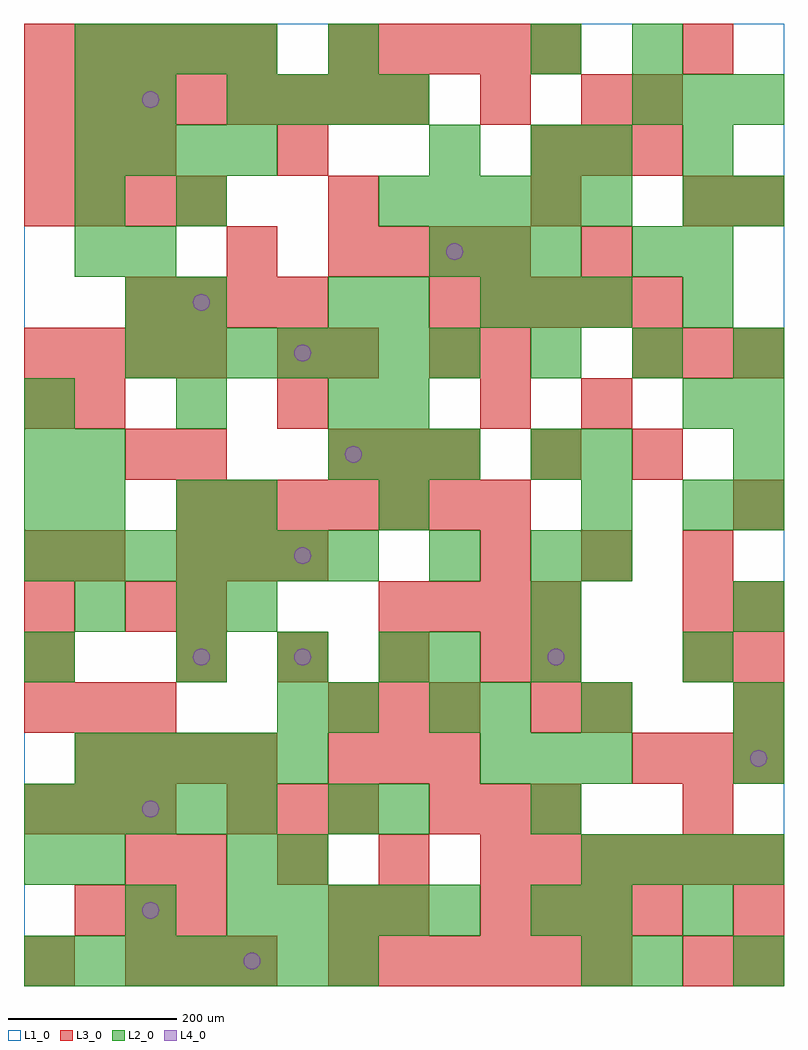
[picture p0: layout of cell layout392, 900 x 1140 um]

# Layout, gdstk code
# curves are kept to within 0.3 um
import gdstk
lib = gdstk.Library(unit=1e-6, precision=1e-09)
def R(c, l, rs):  # rectangles x0, y0, x1, y1
    for r in rs: c.add(gdstk.rectangle(r[:2], r[2:], *l))
def A(c, l, x, y, w, h, nx, ny, dx, dy):  # array of equal rectangles
    R(c, l, [(x+i*dx, y+j*dy, x+i*dx+w, y+j*dy+h) for i in range(nx) for j in range(ny)])
def P(c, l, *ps):  # polygons
    for p in ps: c.add(gdstk.Polygon(p, *l))
L1_0 = (1, 0)
L2_0 = (2, 0)
L3_0 = (3, 0)
L4_0 = (4, 0)

layout392 = lib.new_cell('layout392')
R(layout392, L1_0, [(0,0,900,1140)])
A(layout392, L2_0, 0, 0, 60, 60, 7, 2, 60, 480)
A(layout392, L2_0, 240, 60, 60, 60, 5, 1, 60, 0)
A(layout392, L2_0, 660, 120, 60, 60, 4, 1, 60, 0)
A(layout392, L2_0, 0, 180, 60, 60, 5, 1, 60, 0)
A(layout392, L2_0, 60, 240, 60, 60, 5, 1, 60, 0)
A(layout392, L2_0, 540, 240, 60, 60, 3, 2, 60, 540)
A(layout392, L2_0, 840, 300, 60, 60, 1, 3, 0, 120)
A(layout392, L2_0, 180, 360, 60, 60, 3, 1, 120, 0)
A(layout392, L2_0, 600, 360, 60, 60, 1, 3, 0, 60)
A(layout392, L2_0, 660, 480, 60, 60, 1, 3, 0, 60)
A(layout392, L2_0, 420, 540, 60, 60, 1, 3, 0, 120)
A(layout392, L2_0, 780, 540, 60, 60, 1, 3, 0, 120)
A(layout392, L2_0, 360, 600, 60, 60, 3, 1, 60, 0)
A(layout392, L2_0, 0, 660, 60, 60, 3, 1, 180, 0)
A(layout392, L2_0, 120, 720, 60, 60, 7, 1, 60, 0)
A(layout392, L2_0, 600, 720, 60, 60, 3, 1, 120, 0)
A(layout392, L2_0, 480, 840, 60, 60, 3, 1, 60, 0)
A(layout392, L2_0, 780, 840, 60, 60, 1, 3, 0, 60)
A(layout392, L2_0, 420, 900, 60, 60, 5, 1, 60, 0)
A(layout392, L2_0, 60, 960, 60, 60, 4, 2, 60, 120)
A(layout392, L2_0, 240, 1020, 60, 60, 4, 1, 60, 0)
A(layout392, L2_0, 720, 1020, 60, 60, 3, 1, 60, 0)
R(layout392, L2_0, [(660,0,720,60), (720,0,780,60), (840,0,900,60), (120,60,180,120), (600,60,660,120), (660,60,720,120), (780,60,840,120), (0,120,60,180), (60,120,120,180), (240,120,300,180), (300,120,360,180), (360,180,420,240), (420,180,480,240), (600,180,660,240), (840,240,900,300), (300,300,360,360), (360,300,420,360), (480,300,540,360), (540,300,600,360), (660,300,720,360), (0,360,60,420), (480,360,540,420), (780,360,840,420), (60,420,120,480), (180,420,240,480), (240,420,300,480), (480,480,540,540), (0,540,60,600), (60,540,120,600), (180,540,240,600), (240,540,300,600), (0,600,60,660), (60,600,120,660), (600,600,660,660), (840,600,900,660), (840,660,900,720), (120,780,180,840), (180,780,240,840), (360,780,420,840), (60,840,120,900), (120,840,180,900), (720,840,780,900), (60,900,120,960), (180,900,240,960), (840,900,900,960), (480,960,540,1020), (600,960,660,1020), (660,960,720,1020), (60,1020,120,1080), (120,1020,180,1080), (360,1080,420,1140), (600,1080,660,1140), (720,1080,780,1140)])
A(layout392, L3_0, 120, 0, 60, 60, 3, 1, 60, 0)
A(layout392, L3_0, 360, 0, 60, 60, 6, 1, 60, 0)
A(layout392, L3_0, 780, 0, 60, 60, 1, 3, 0, 180)
A(layout392, L3_0, 60, 60, 60, 60, 3, 1, 60, 0)
A(layout392, L3_0, 540, 60, 60, 60, 4, 1, 60, 0)
A(layout392, L3_0, 180, 120, 60, 60, 4, 2, 120, 240)
A(layout392, L3_0, 600, 120, 60, 60, 5, 1, 60, 0)
A(layout392, L3_0, 0, 180, 60, 60, 3, 2, 60, 120)
A(layout392, L3_0, 240, 180, 60, 60, 3, 1, 60, 0)
A(layout392, L3_0, 480, 180, 60, 60, 3, 1, 60, 0)
A(layout392, L3_0, 60, 240, 60, 60, 4, 1, 60, 0)
A(layout392, L3_0, 360, 240, 60, 60, 3, 2, 60, 60)
A(layout392, L3_0, 720, 240, 60, 60, 3, 2, 60, 480)
A(layout392, L3_0, 840, 300, 60, 60, 1, 3, 0, 60)
A(layout392, L3_0, 0, 360, 60, 60, 1, 3, 0, 60)
A(layout392, L3_0, 420, 420, 60, 60, 4, 1, 60, 0)
A(layout392, L3_0, 180, 480, 60, 60, 3, 1, 60, 0)
A(layout392, L3_0, 540, 480, 60, 60, 3, 1, 120, 0)
A(layout392, L3_0, 180, 540, 60, 60, 7, 1, 60, 0)
A(layout392, L3_0, 360, 600, 60, 60, 3, 1, 60, 0)
A(layout392, L3_0, 60, 660, 60, 60, 3, 1, 240, 0)
A(layout392, L3_0, 660, 660, 60, 60, 1, 3, 0, 180)
A(layout392, L3_0, 0, 720, 60, 60, 4, 2, 60, 180)
A(layout392, L3_0, 120, 780, 60, 60, 4, 1, 60, 0)
A(layout392, L3_0, 480, 780, 60, 60, 5, 1, 60, 0)
A(layout392, L3_0, 360, 840, 60, 60, 4, 1, 60, 0)
A(layout392, L3_0, 0, 960, 60, 60, 3, 1, 60, 0)
A(layout392, L3_0, 600, 960, 60, 60, 3, 1, 60, 0)
A(layout392, L3_0, 0, 1020, 60, 60, 8, 1, 60, 0)
A(layout392, L3_0, 0, 1080, 60, 60, 5, 1, 60, 0)
A(layout392, L3_0, 360, 1080, 60, 60, 5, 1, 60, 0)
R(layout392, L3_0, [(0,0,60,60), (840,0,900,60), (360,60,420,120), (420,60,480,120), (840,60,900,120), (120,120,180,180), (600,300,660,360), (660,300,720,360), (600,360,660,420), (120,420,180,480), (180,420,240,480), (780,420,840,480), (60,480,120,540), (840,540,900,600), (120,600,180,660), (180,600,240,660), (600,600,660,660), (720,600,780,660), (0,660,60,720), (300,720,360,780), (360,720,420,780), (480,720,540,780), (540,720,600,780), (240,840,300,900), (360,900,420,960), (600,900,660,960), (780,900,840,960), (840,900,900,960), (300,960,360,1020), (540,1020,600,1080), (720,1020,780,1080), (780,1080,840,1140)])
P(layout392, L4_0, [(160,90),(159.239,93.827),(157.071,97.071),(153.827,99.239),(150,100),(146.173,99.239),(142.929,97.071),(140.761,93.827),(140,90),(140.761,86.173),(142.929,82.929),(146.173,80.761),(150,80),(153.827,80.761),(157.071,82.929),(159.239,86.173)],
  [(160,210),(159.239,213.827),(157.071,217.071),(153.827,219.239),(150,220),(146.173,219.239),(142.929,217.071),(140.761,213.827),(140,210),(140.761,206.173),(142.929,202.929),(146.173,200.761),(150,200),(153.827,200.761),(157.071,202.929),(159.239,206.173)],
  [(160,1050),(159.239,1053.827),(157.071,1057.071),(153.827,1059.239),(150,1060),(146.173,1059.239),(142.929,1057.071),(140.761,1053.827),(140,1050),(140.761,1046.173),(142.929,1042.929),(146.173,1040.761),(150,1040),(153.827,1040.761),(157.071,1042.929),(159.239,1046.173)],
  [(220,390),(219.239,393.827),(217.071,397.071),(213.827,399.239),(210,400),(206.173,399.239),(202.929,397.071),(200.761,393.827),(200,390),(200.761,386.173),(202.929,382.929),(206.173,380.761),(210,380),(213.827,380.761),(217.071,382.929),(219.239,386.173)],
  [(220,810),(219.239,813.827),(217.071,817.071),(213.827,819.239),(210,820),(206.173,819.239),(202.929,817.071),(200.761,813.827),(200,810),(200.761,806.173),(202.929,802.929),(206.173,800.761),(210,800),(213.827,800.761),(217.071,802.929),(219.239,806.173)],
  [(280,30),(279.239,33.827),(277.071,37.071),(273.827,39.239),(270,40),(266.173,39.239),(262.929,37.071),(260.761,33.827),(260,30),(260.761,26.173),(262.929,22.929),(266.173,20.761),(270,20),(273.827,20.761),(277.071,22.929),(279.239,26.173)],
  [(340,390),(339.239,393.827),(337.071,397.071),(333.827,399.239),(330,400),(326.173,399.239),(322.929,397.071),(320.761,393.827),(320,390),(320.761,386.173),(322.929,382.929),(326.173,380.761),(330,380),(333.827,380.761),(337.071,382.929),(339.239,386.173)],
  [(340,510),(339.239,513.827),(337.071,517.071),(333.827,519.239),(330,520),(326.173,519.239),(322.929,517.071),(320.761,513.827),(320,510),(320.761,506.173),(322.929,502.929),(326.173,500.761),(330,500),(333.827,500.761),(337.071,502.929),(339.239,506.173)],
  [(340,750),(339.239,753.827),(337.071,757.071),(333.827,759.239),(330,760),(326.173,759.239),(322.929,757.071),(320.761,753.827),(320,750),(320.761,746.173),(322.929,742.929),(326.173,740.761),(330,740),(333.827,740.761),(337.071,742.929),(339.239,746.173)],
  [(400,630),(399.239,633.827),(397.071,637.071),(393.827,639.239),(390,640),(386.173,639.239),(382.929,637.071),(380.761,633.827),(380,630),(380.761,626.173),(382.929,622.929),(386.173,620.761),(390,620),(393.827,620.761),(397.071,622.929),(399.239,626.173)],
  [(520,870),(519.239,873.827),(517.071,877.071),(513.827,879.239),(510,880),(506.173,879.239),(502.929,877.071),(500.761,873.827),(500,870),(500.761,866.173),(502.929,862.929),(506.173,860.761),(510,860),(513.827,860.761),(517.071,862.929),(519.239,866.173)],
  [(640,390),(639.239,393.827),(637.071,397.071),(633.827,399.239),(630,400),(626.173,399.239),(622.929,397.071),(620.761,393.827),(620,390),(620.761,386.173),(622.929,382.929),(626.173,380.761),(630,380),(633.827,380.761),(637.071,382.929),(639.239,386.173)],
  [(880,270),(879.239,273.827),(877.071,277.071),(873.827,279.239),(870,280),(866.173,279.239),(862.929,277.071),(860.761,273.827),(860,270),(860.761,266.173),(862.929,262.929),(866.173,260.761),(870,260),(873.827,260.761),(877.071,262.929),(879.239,266.173)])

lib.write_gds('layout392.gds')
